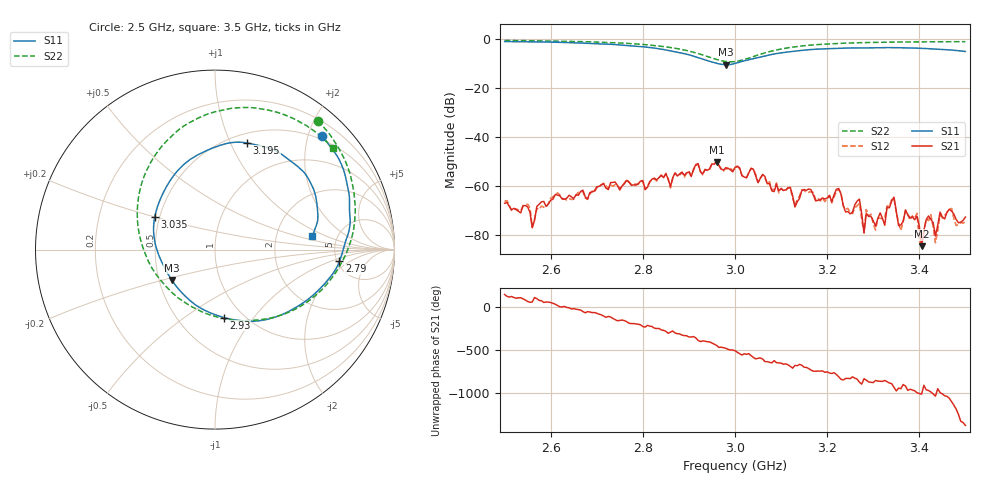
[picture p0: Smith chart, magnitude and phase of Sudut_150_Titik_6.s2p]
# Hz S RI R 50
! CMT, C1220, 16058040, 17.2.0/1
! Date: 15/08/2018 10:17:22
! Data: Format (Calibration Info)
! Freq  S11: Re/Im (F2)  S21: Re/Im (F2)  S12: Re/Im (F2)  S22: Re/Im (F2)
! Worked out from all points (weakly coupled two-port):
!   201 points, 2.5 GHz to 3.5 GHz, reference 50 ohm
!   highest |S21| = -50.12 dB at 2.96 GHz (marker M1); lowest = -84.4 dB at 3.405 GHz (marker M2)
!   lowest |S11| = -10.6 dB at 2.98 GHz (marker M3), VSWR 1.84, Z = 29.1 - j10.7 ohm
!   |S11| at or under -10 dB: 2.959 GHz to 3.002 GHz (42.68 MHz wide, 1.43 % of centre)
!   |S22| runs from -9.4 to -0.7 dB; largest |S21 - S12| = 0.00019
!   S11 on the Smith chart (normalised r, x): 2.5 GHz: 0.43, +2.25; 2.79 GHz: 5.25, -1.31; 2.93 GHz: 0.81, -0.72; 3.035 GHz: 0.47, +0.20; 3.195 GHz: 0.60, +1.15; 3.5 GHz: 3.25, +0.72
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2.5e9  0.5974 0.6337  -0.000366 0.000263  -0.000382 0.000314  0.5733 0.7163
2.55e9  0.6496 0.5636  0.000172 0.000341  0.000173 0.000395  0.6294 0.6547
2.56e9  0.6611 0.5492  7.78e-05 0.00012  9.24e-05 0.000115  0.6399 0.641
2.58e9  0.685 0.514  0.000153 0.000458  0.000195 0.000343  0.6606 0.6107
2.67e9  0.7463 0.3144  0.00049 -0.000674  0.000373 -0.000686  0.7448 0.4441
2.79e9  0.6936 -0.0642  -0.00105 0.000411  -0.001 0.000444  0.7692 0.0957
2.835e9  0.5807 -0.2216  -0.000496 0.0014  -0.000493 0.00142  0.702 -0.0783
2.93e9  0.0477 -0.3783  0.00145 -0.00104  0.00142 -0.000956  0.2509 -0.3907
2.96e9  -0.1427 -0.2804  0.000109 -0.00312  0.000192 -0.00327  0.0189 -0.3774
2.98e9  -0.2418 -0.1685  -0.00124 -0.00204  -0.00107 -0.002  -0.1369 -0.3143
3e9  -0.3101 -0.0385  -0.00209 -0.00119  -0.00213 -0.00109  -0.2715 -0.2065
3.035e9  -0.336 0.1827  -0.00204 0.00107  -0.00208 0.00104  -0.4137 0.0501
3.13e9  -0.0396 0.5548  0.000295 0.000236  0.00035 0.000204  -0.2343 0.6387
3.17e9  0.0977 0.5968  0.000584 -0.000311  0.000659 -0.000354  -0.0745 0.7414
3.195e9  0.1776 0.594  0.000415 -0.000361  0.000366 -0.000322  0.0187 0.7718
3.27e9  0.3734 0.5292  -0.000501 -0.00022  -0.000397 -0.000211  0.2562 0.7844
3.28e9  0.3937 0.5138  -4.97e-05 -0.000103  -6.11e-05 -9.32e-05  0.2826 0.7799
3.285e9  0.4039 0.5063  -0.000191 -0.000206  -0.000224 -0.000251  0.2953 0.7777
3.305e9  0.4444 0.4762  -0.000114 -0.000107  -9.61e-05 -8.65e-05  0.343 0.7657
3.335e9  0.4952 0.4308  -0.000353 -8.77e-05  -0.000377 -9.82e-05  0.4089 0.7427
3.405e9  0.5613 0.2961  2.59e-05 5.48e-05  2.03e-05 5.87e-05  0.5329 0.6741
3.5e9  0.543 0.0778  0.000119 0.000204  0.000132 0.000138  0.6562 0.5645
